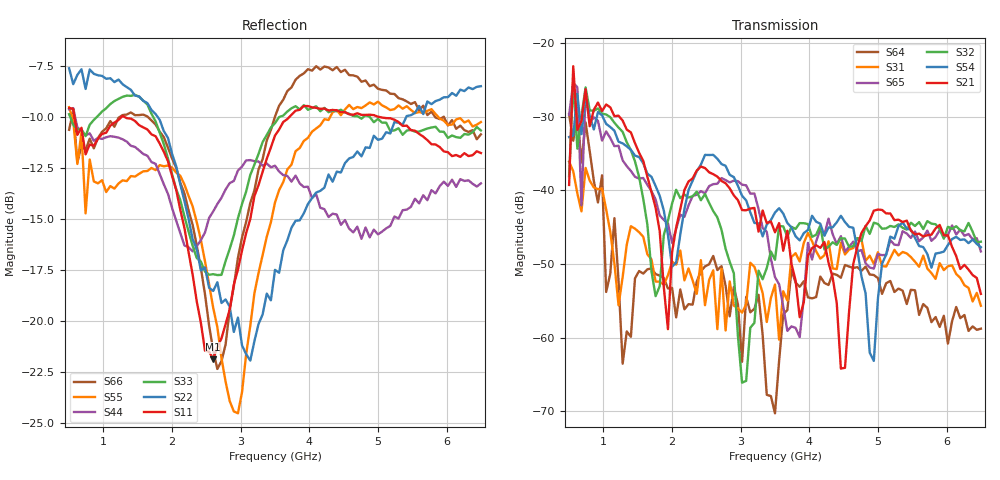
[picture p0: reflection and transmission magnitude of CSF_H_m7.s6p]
!Keysight Technologies,M9804A,MY58100912,A.14.10.03
!Date: Thursday, April 27, 2023 10:28:33
!Correction: S11(C  6-Port  )
!S12(C  6-Port  )
!S13(C  6-Port  )
!S14(C  6-Port  )
!S15(C  6-Port  )
!S16(C  6-Port  )
!S21(C  6-Port  )
!S22(C  6-Port  )
!S23(C  6-Port  )
!S24(C  6-Port  )
!S25(C  6-Port  )
!S26(C  6-Port  )
!S31(C  6-Port  )
!S32(C  6-Port  )
!S33(C  6-Port  )
!S34(C  6-Port  )
!S35(C  6-Port  )
!S36(C  6-Port  )
!S41(C  6-Port  )
!S42(C  6-Port  )
!S43(C  6-Port  )
!S44(C  6-Port  )
!S45(C  6-Port  )
!S46(C  6-Port  )
!S51(C  6-Port  )
!S52(C  6-Port  )
!S53(C  6-Port  )
!S54(C  6-Port  )
!S55(C  6-Port  )
!S56(C  6-Port  )
!S61(C  6-Port  )
!S62(C  6-Port  )
!S63(C  6-Port  )
!S64(C  6-Port  )
!S65(C  6-Port  )
!S66(C  6-Port  )
!S6P File: Measurement: :
# Hz S  RI  R 50
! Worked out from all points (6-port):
!   101 points, 500 MHz to 6.5 GHz, reference 50 ohm
!   strongest paths, dB at 500 MHz, 2 GHz, 3.5 GHz, 5 GHz, 6.5 GHz:
!     S21: -39.3, -48.4, -45.7, -42.6, -54.1
!     S54: -32.8, -50.4, -43.0, -54.7, -47.7
!     S32: -38.1, -41.8, -49.4, -44.6, -47.0
!     S65: -29.7, -47.1, -51.8, -48.6, -48.3
!     S31: -36.1, -49.7, -52.8, -48.4, -55.7
!     S64: -29.7, -53.2, -70.3, -51.9, -58.8
!   lowest |S11| = -21.9 dB at 2.6 GHz (marker M1), VSWR 1.18, Z = 42.8 + j1.96 ohm
!   |S11| at or under -10 dB: 578.6 MHz to 1.266 GHz (687.1 MHz wide, 74.5 % of centre); 1.305 GHz to 3.711 GHz (2.405 GHz wide, 95.9 % of centre); 5.013 GHz to end of sweep
